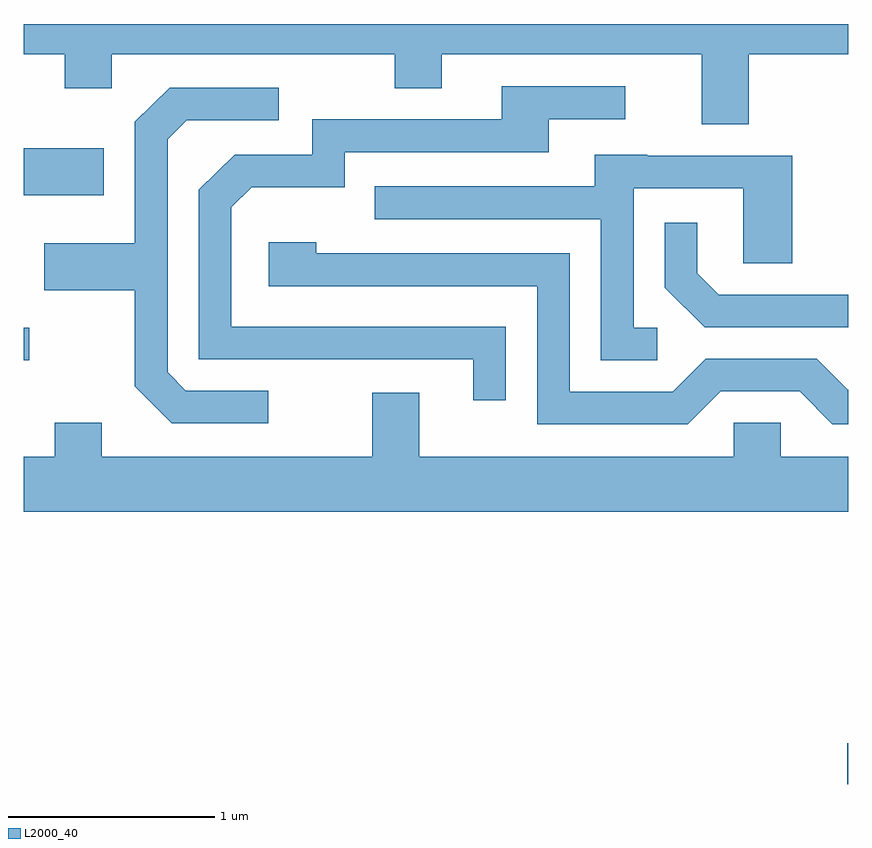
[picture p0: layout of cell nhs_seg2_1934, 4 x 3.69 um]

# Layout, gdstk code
import gdstk
lib = gdstk.Library(unit=1e-6, precision=1e-09)
def R(c, l, rs):  # rectangles x0, y0, x1, y1
    for r in rs: c.add(gdstk.rectangle(r[:2], r[2:], *l))
def P(c, l, *ps):  # polygons
    for p in ps: c.add(gdstk.Polygon(p, *l))
L2000_40 = (2000, 40)

nhs_seg2_1934 = lib.new_cell('nhs_seg2_1934')
R(nhs_seg2_1934, L2000_40, [(245.606,1038.116,245.611,1038.314), (241.611,1040.171,241.638,1040.329), (241.611,1040.971,241.999,1041.199)])
P(nhs_seg2_1934, L2000_40, [(245.129,1041.656),(245.611,1041.656),(245.611,1041.802),(241.611,1041.802),(241.611,1041.656),(241.811,1041.656),(241.811,1041.491),(242.039,1041.491),(242.039,1041.656),(243.411,1041.656),(243.411,1041.491),(243.639,1041.491),(243.639,1041.656),(244.901,1041.656),(244.901,1041.316),(245.129,1041.316)],
  [(243.949,1040.334),(242.619,1040.334),(242.619,1040.914),(242.717,1041.011),(243.169,1041.011),(243.169,1041.181),(244.159,1041.181),(244.159,1041.341),(244.528,1041.341),(244.528,1041.499),(243.931,1041.499),(243.931,1041.339),(243.011,1041.339),(243.011,1041.169),(242.634,1041.169),(242.461,1040.997),(242.461,1040.176),(243.791,1040.176),(243.791,1039.978),(243.949,1039.978)],
  [(242.798,1040.024),(242.397,1040.024),(242.309,1040.112),(242.309,1041.244),(242.402,1041.336),(242.848,1041.336),(242.848,1041.494),(242.319,1041.494),(242.151,1041.327),(242.151,1040.739),(241.711,1040.739),(241.711,1040.511),(242.151,1040.511),(242.151,1040.044),(242.329,1039.866),(242.798,1039.866)],
  [(244.683,1040.329),(244.569,1040.329),(244.569,1041.006),(245.101,1041.006),(245.101,1040.641),(245.339,1040.641),(245.339,1041.164),(244.635,1041.164),(244.635,1041.169),(244.381,1041.169),(244.381,1041.014),(243.313,1041.014),(243.313,1040.856),(244.411,1040.856),(244.411,1040.171),(244.683,1040.171)],
  [(245.611,1040.489),(244.982,1040.489),(244.879,1040.592),(244.879,1040.838),(244.721,1040.838),(244.721,1040.524),(244.914,1040.331),(245.611,1040.331)],
  [(244.992,1040.021),(245.374,1040.021),(245.534,1039.861),(245.611,1039.861),(245.611,1040.029),(245.607,1040.029),(245.457,1040.179),(244.919,1040.179),(244.759,1040.019),(244.259,1040.019),(244.259,1040.689),(243.029,1040.689),(243.029,1040.744),(242.801,1040.744),(242.801,1040.531),(244.101,1040.531),(244.101,1039.861),(244.832,1039.861)],
  [(245.611,1039.704),(245.284,1039.704),(245.284,1039.869),(245.056,1039.869),(245.056,1039.704),(243.529,1039.704),(243.529,1040.014),(243.301,1040.014),(243.301,1039.704),(241.989,1039.704),(241.989,1039.869),(241.761,1039.869),(241.761,1039.704),(241.611,1039.704),(241.611,1039.436),(245.611,1039.436)])

lib.write_gds('nhs_seg2_1934.gds')
